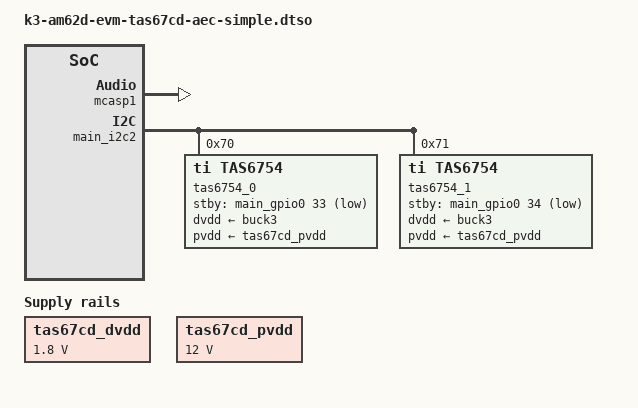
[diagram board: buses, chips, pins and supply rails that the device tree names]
// SPDX-License-Identifier: GPL-2.0-only OR MIT
/**
 * DT overlay for TAS67CD-AEC daughter card on AM62D-EVM's AEC1 connector.
 *
 * Uses simple-audio-card with main audio path only.
 * LLP (ANC bypass) and I/V sense feedback capture are excluded.
 * 8 TDM slots: slots 0-3 for TAS0, slots 4-7 for TAS1.
 *
 * Copyright (C) 2026 Texas Instruments Incorporated - https://www.ti.com/
 */

/dts-v1/;
/plugin/;

#include <dt-bindings/gpio/gpio.h>
#include "k3-pinctrl.h"

&{/} {
	tas67cd_dvdd: regulator-tas67cd-dvdd {
		compatible = "regulator-fixed";
		regulator-name = "tas67cd-dvdd";
		regulator-min-microvolt = <1800000>;
		regulator-max-microvolt = <1800000>;
		regulator-always-on;
		regulator-boot-on;
	};

	tas67cd_pvdd: regulator-tas67cd-pvdd {
		compatible = "regulator-fixed";
		regulator-name = "tas67cd-pvdd";
		regulator-min-microvolt = <12000000>;
		regulator-max-microvolt = <12000000>;
		regulator-always-on;
	};
};

&main_pmx0 {
	mcasp1_tas67cd_pins: mcasp1-tas67cd-pins {
		pinctrl-single,pins = <
			AM62DX_IOPAD(0x0124, PIN_INPUT,  1) /* (F22) MMC2_SDCD.MCASP1_ACLKX */
			AM62DX_IOPAD(0x0128, PIN_INPUT,  1) /* (E21) MMC2_SDWP.MCASP1_AFSX */
			AM62DX_IOPAD(0x0114, PIN_OUTPUT, 1) /* (E20) MMC2_DAT0.MCASP1_AXR0 */
		>;
	};

	tas67cd_stby_pins: tas67cd-stby-pins {
		pinctrl-single,pins = <
			AM62DX_IOPAD(0x0088, PIN_OUTPUT, 7) /* (L17) GPMC0_OEn_REn.GPIO0_33 */
			AM62DX_IOPAD(0x008c, PIN_OUTPUT, 7) /* (K19) GPMC0_WEn.GPIO0_34 */
		>;
	};
};

&mcasp1 {
	status = "okay";
	#sound-dai-cells = <0>;

	pinctrl-names = "default";
	pinctrl-0 = <&mcasp1_tas67cd_pins>;

	assigned-clocks = <&k3_clks 191 0>;
	assigned-clock-parents = <&k3_clks 191 2>;
	assigned-clock-rates = <320000000>;
	auxclk-fs-ratio = <6656>;
	op-mode = <0>;
	tdm-slots = <8>;
	serial-dir = <	/* 0: INACTIVE, 1: TX, 2: RX */
		1 0 0 0	/* AXR0=TX (TAS0/1 main audio) */
		0 0 0 0
		0 0 0 0
		0 0 0 0
	>;
};

&main_i2c2 {
	#address-cells = <1>;
	#size-cells = <0>;
	pinctrl-0 = <&main_i2c2_pins_default &tas67cd_stby_pins>;

	tas6754_0: tas6754@70 {
		compatible = "ti,tas6754";
		reg = <0x70>;
		#sound-dai-cells = <1>;
		sound-name-prefix = "TAS0";

		dvdd-supply = <&buck3>;
		pvdd-supply = <&tas67cd_pvdd>;

		stby-gpios = <&main_gpio0 33 GPIO_ACTIVE_LOW>;

		ti,audio-slot-no = <0>;
		ti,gpio1-function = "mute";
	};

	tas6754_1: tas6754@71 {
		compatible = "ti,tas6754";
		reg = <0x71>;
		#sound-dai-cells = <1>;
		sound-name-prefix = "TAS1";

		dvdd-supply = <&buck3>;
		pvdd-supply = <&tas67cd_pvdd>;

		stby-gpios = <&main_gpio0 34 GPIO_ACTIVE_LOW>;

		ti,audio-slot-no = <4>;
		ti,gpio1-function = "mute";
	};
};

&{/} {
	sound_tas67cd: sound-tas67cd {
		compatible = "simple-audio-card";
		simple-audio-card,name = "TAS67CD-AEC";

		simple-audio-card,widgets =
			"Speaker", "TAS0 Speaker",
			"Speaker", "TAS1 Speaker";

		simple-audio-card,routing =
			"TAS0 Speaker",      "TAS0 OUT_CH1",
			"TAS0 Speaker",      "TAS0 OUT_CH2",
			"TAS0 Speaker",      "TAS0 OUT_CH3",
			"TAS0 Speaker",      "TAS0 OUT_CH4",
			"TAS1 Speaker",      "TAS1 OUT_CH1",
			"TAS1 Speaker",      "TAS1 OUT_CH2",
			"TAS1 Speaker",      "TAS1 OUT_CH3",
			"TAS1 Speaker",      "TAS1 OUT_CH4",
			"TAS0 SPEAKER_LOAD", "TAS0 Speaker",
			"TAS1 SPEAKER_LOAD", "TAS1 Speaker";

		simple-audio-card,dai-link {
			format = "dsp_b";
			bitclock-master = <&link_cpu>;
			frame-master = <&link_cpu>;

			link_cpu: cpu {
				sound-dai = <&mcasp1>;
			};

			codec@0 {
				sound-dai = <&tas6754_0 0>;
			};

			codec@1 {
				sound-dai = <&tas6754_1 0>;
			};
		};
	};
};
